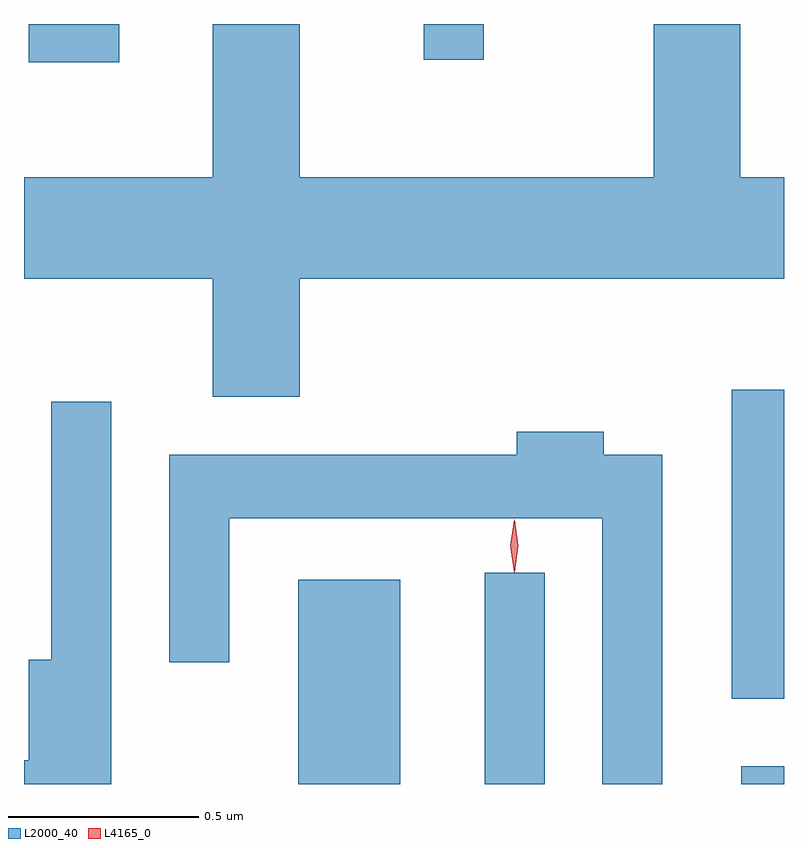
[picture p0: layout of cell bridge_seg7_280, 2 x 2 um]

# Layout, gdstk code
import gdstk
lib = gdstk.Library(unit=1e-6, precision=1e-09)
def R(c, l, rs):  # rectangles x0, y0, x1, y1
    for r in rs: c.add(gdstk.rectangle(r[:2], r[2:], *l))
def P(c, l, *ps):  # polygons
    for p in ps: c.add(gdstk.Polygon(p, *l))
L2000_40 = (2000, 40)
L4165_0 = (4165, 0)

bridge_seg7_280 = lib.new_cell('bridge_seg7_280')
R(bridge_seg7_280, L2000_40, [(1439.966,1764.047,1440.234,1764.584), (1440.456,1764.047,1440.614,1764.603), (1441.131,1764.047,1441.244,1764.094), (1441.106,1764.271,1441.244,1765.084), (1439.256,1765.946,1439.494,1766.047), (1440.296,1765.953,1440.454,1766.047)])
P(bridge_seg7_280, L2000_40, [(1439.969,1765.376),(1441.244,1765.376),(1441.244,1765.644),(1441.129,1765.644),(1441.129,1766.047),(1440.901,1766.047),(1440.901,1765.644),(1439.969,1765.644),(1439.969,1766.047),(1439.741,1766.047),(1439.741,1765.644),(1439.244,1765.644),(1439.244,1765.376),(1439.741,1765.376),(1439.741,1765.066),(1439.969,1765.066)],
  [(1439.474,1765.053),(1439.316,1765.053),(1439.316,1764.374),(1439.256,1764.374),(1439.256,1764.109),(1439.244,1764.109),(1439.244,1764.047),(1439.474,1764.047)],
  [(1440.924,1764.914),(1440.769,1764.914),(1440.769,1764.974),(1440.541,1764.974),(1440.541,1764.914),(1439.626,1764.914),(1439.626,1764.368),(1439.784,1764.368),(1439.784,1764.746),(1440.766,1764.746),(1440.766,1764.047),(1440.924,1764.047)])
P(bridge_seg7_280, L4165_0, [(1440.534,1764.604),(1440.534,1764.604),(1440.524,1764.674),(1440.534,1764.742),(1440.534,1764.743),(1440.535,1764.742),(1440.544,1764.674),(1440.535,1764.604)],
  [(1440.534,1764.607),(1440.525,1764.674),(1440.534,1764.74),(1440.535,1764.74),(1440.535,1764.74),(1440.545,1764.674),(1440.535,1764.607),(1440.535,1764.607)])

lib.write_gds('bridge_seg7_280.gds')
